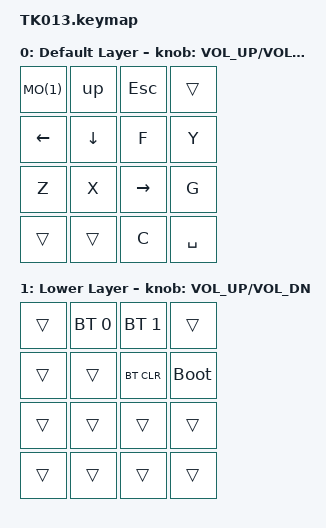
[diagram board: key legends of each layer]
/*
 * Copyright (c) 2021 The ZMK Contributors
 *
 * SPDX-License-Identifier: MIT
 */

#include <behaviors.dtsi>
#include <dt-bindings/zmk/keys.h>
#include <dt-bindings/zmk/bt.h>
#include <dt-bindings/zmk/ext_power.h>

/ {
    keymap {
        compatible = "zmk,keymap";

        default_layer {
            display-name = "Default Layer";
            bindings = <
&kp MO(1)  &kp up    &kp ESC    &trans   
&kp LEFT   &kp DOWN  &kp F      &kp Y    
&kp Z      &kp X     &kp RIGHT  &kp G  
&trans     &trans    &kp C      &kp SPACE   
            >;

            sensor-bindings = <&inc_dec_kp C_VOL_UP C_VOL_DN>;
        };

        lower_layer {
            display-name = "Lower Layer";
            bindings = <
&trans   &bt BT_SEL 0    &bt BT_SEL 1     &trans
&trans   &trans          &bt BT_CLR       &bootloader        
&trans   &trans          &trans           &trans          
&trans   &trans          &trans           &trans   
            >;

            sensor-bindings = <&inc_dec_kp C_VOL_UP C_VOL_DN>;
        };
    };
};
